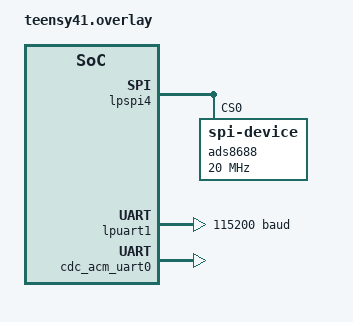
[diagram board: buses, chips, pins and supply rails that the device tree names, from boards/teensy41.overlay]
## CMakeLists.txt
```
cmake_minimum_required(VERSION 3.20.0)

find_package(Zephyr REQUIRED HINTS $ENV{ZEPHYR_BASE})
project(integrated_data_logger)

target_sources(app PRIVATE 
    src/main.c
    src/ads8688.c
)
```

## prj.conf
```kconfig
# Console/logging over UART
CONFIG_SERIAL=y
CONFIG_CONSOLE=y
CONFIG_UART_CONSOLE=y
CONFIG_PRINTK=y
CONFIG_LOG=y
CONFIG_LOG_DEFAULT_LEVEL=3

# USB CDC ACM (data)
CONFIG_USB_DEVICE_STACK=y
CONFIG_USB_DEVICE_PRODUCT="Teensy Logger"
CONFIG_USB_CDC_ACM=y
CONFIG_UART_LINE_CTRL=y

# SPI
CONFIG_SPI=y
```

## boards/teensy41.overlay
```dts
/ {
    aliases {
        spi-ads8688 = &ads8688;
        usb-data-uart = &cdc_acm_uart0;
    };

    chosen {
        zephyr,console = &lpuart1;
        zephyr,shell-uart = &lpuart1;
    };
};

/* SPI (LPSPI4) + ADS8688 */
&lpspi4 {
    status = "okay";
    pinctrl-0 = <&pinmux_lpspi4>;
    pinctrl-names = "default";

// 参考)  zephyr/dts/bindings/spi/spi-device.yaml
    /* ハードCS(PCS0)を使う想定：cs-gpiosは書かない */
    ads8688: ads8688@0 {
        compatible = "zephyr,spi-device";
        reg = <0>;
        spi-max-frequency = <20000000>;
        duplex = <0>;
        status = "okay";
        spi-interframe-delay-ns = <0>;
        frame-format = <0>;
    };
};

&lpuart1 {
    status = "okay";
    current-speed = <115200>;
};

&zephyr_udc0 {
    cdc_acm_uart0: cdc_acm_uart0 {
        compatible = "zephyr,cdc-acm-uart";
        status = "okay";
    };
};
```

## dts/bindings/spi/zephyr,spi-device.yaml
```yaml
description: Zephyr generic SPI device (project-local helper binding)
compatible: "zephyr,spi-device"
include: [spi-device.yaml]
```

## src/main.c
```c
#include <zephyr/device.h>
#include <zephyr/devicetree.h>
#include <zephyr/drivers/uart.h>
#include <zephyr/kernel.h>
#include <zephyr/sys/printk.h>
#include <zephyr/usb/usb_device.h>

#define CDC_NODE DT_ALIAS(usb_data_uart)

static void wait_for_dtr(const struct device *dev) {
  uint32_t dtr = 0;
  while (true) {
    (void)uart_line_ctrl_get(dev, UART_LINE_CTRL_DTR, &dtr);
    if (dtr) {
      break;
    }
    k_msleep(10);
  }
}

int main(void) {
  printk("[UART-LOG] boot\n");

  int ret = usb_enable(NULL);
  if (ret) {
    printk("[UART-LOG] usb_enable failed: %d\n", ret);
    return 0;
  }
  printk("[UART-LOG] USB enabled\n");

  const struct device *cdc = DEVICE_DT_GET(CDC_NODE);
  if (!device_is_ready(cdc)) {
    printk("[UART-LOG] CDC device not ready\n");
    return 0;
  }

  printk("[UART-LOG] waiting for USB DTR...\n");
  wait_for_dtr(cdc);
  printk("[UART-LOG] DTR ON\n");

  const char *hello = "[USB-DATA] hello from CDC ACM\r\n";
  int res = uart_tx(cdc, hello, strlen(hello), SYS_FOREVER_US);
  printk("[UART-LOG] uart_tx res: %d", res);

  int cnt = 0;
  while (1) {
    char buf[64];
    int n = snprintk(buf, sizeof(buf), "[USB-DATA] tick %d\r\n", cnt++);
    int res = uart_tx(cdc, buf, n, SYS_FOREVER_US);
    printk("[UART-LOG] uart_tx res: %d", res);

    printk("[UART-LOG] alive %d\n", cnt);
    k_sleep(K_SECONDS(1));
  }
}
```

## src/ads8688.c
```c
/*
 * ADS8688 8-Channel 16-bit ADC Driver Implementation
 */

#include "ads8688.h"
#include <string.h>
#include <zephyr/logging/log.h>

LOG_MODULE_REGISTER(ads8688, LOG_LEVEL_INF);

/* Full scale voltage for each range (in microvolts) */
static const int32_t range_scale_uv[] = {
    10240000, /* ±10.24V */
    5120000,  /* ±5.12V */
    2560000,  /* ±2.56V */
    1280000,  /* ±1.28V */
    640000,   /* ±0.64V */
    10240000, /* 0 to 10.24V */
    5120000,  /* 0 to 5.12V */
};

/* Manual channel select commands */
static const uint16_t man_ch_cmd[] = {
    ADS8688_CMD_MAN_CH0, ADS8688_CMD_MAN_CH1, ADS8688_CMD_MAN_CH2,
    ADS8688_CMD_MAN_CH3, ADS8688_CMD_MAN_CH4, ADS8688_CMD_MAN_CH5,
    ADS8688_CMD_MAN_CH6, ADS8688_CMD_MAN_CH7,
};

/* Write a program register */
static int ads8688_write_reg(struct ads8688_dev *dev, uint8_t reg,
                             uint8_t value) {
  /* Write command: [REG_ADDR << 1 | 1] [DATA] */
  uint8_t tx_buf[2] = {(reg << 1) | 0x01, value};

  struct spi_buf tx = {.buf = tx_buf, .len = 2};
  struct spi_buf_set tx_set = {.buffers = &tx, .count = 1};

  /* CS LOW */
  gpio_pin_set(dev->cs_gpio_dev, dev->cs_pin, 0);

  int ret = spi_write(dev->spi_dev, &dev->spi_cfg, &tx_set);

  /* CS HIGH */
  gpio_pin_set(dev->cs_gpio_dev, dev->cs_pin, 1);

  return ret;
}

/* Send command and read result */
static int ads8688_cmd_read(struct ads8688_dev *dev, uint16_t cmd,
                            uint16_t *result) {
  /* ADS8688 uses 32-bit frames:
   * TX: [CMD_HIGH] [CMD_LOW] [0x00] [0x00]
   * RX: [data_high] [data_low] [x] [x]
   * Data from PREVIOUS command is in first 16 bits
   */
  uint8_t tx_buf[4] = {(cmd >> 8) & 0xFF, cmd & 0xFF, 0x00, 0x00};
  uint8_t rx_buf[4] = {0xAA, 0xBB, 0xCC,
                       0xDD}; /* Pre-fill to detect if SPI overwrites */

  struct spi_buf tx = {.buf = tx_buf, .len = 4};
  struct spi_buf rx = {.buf = rx_buf, .len = 4};
  struct spi_buf_set tx_set = {.buffers = &tx, .count = 1};
  struct spi_buf_set rx_set = {.buffers = &rx, .count = 1};

  /* CS LOW - active */
  gpio_pin_set(dev->cs_gpio_dev, dev->cs_pin, 0);
  k_busy_wait(1); /* 1us delay after CS low */

  int ret = spi_transceive(dev->spi_dev, &dev->spi_cfg, &tx_set, &rx_set);

  k_busy_wait(1); /* 1us delay before CS high */
  /* CS HIGH - inactive */
  gpio_pin_set(dev->cs_gpio_dev, dev->cs_pin, 1);

  if (ret < 0) {
    LOG_ERR("SPI transceive failed: %d", ret);
    return ret;
  }

  /* Debug: log raw SPI data */
  static int debug_count = 0;
  if (debug_count < 20) {
    LOG_INF("SPI TX: %02X %02X %02X %02X -> RX: %02X %02X %02X %02X", tx_buf[0],
            tx_buf[1], tx_buf[2], tx_buf[3], rx_buf[0], rx_buf[1], rx_buf[2],
            rx_buf[3]);
    debug_count++;
  }

  /* Result is in bytes 0-1 (first 16 bits of SDO) */
  *result = ((uint16_t)rx_buf[0] << 8) | rx_buf[1];
  return 0;
}

int ads8688_init(struct ads8688_dev *dev, const struct device *spi_dev,
                 const struct device *cs_gpio_dev, gpio_pin_t cs_pin) {
  LOG_INF("ADS8688 init: SPI Mode 1 (CPHA=1), 500kHz, GPIO CS on pin %d",
          cs_pin);

  if (!device_is_ready(spi_dev)) {
    LOG_ERR("SPI device not ready");
    return -ENODEV;
  }

  if (!device_is_ready(cs_gpio_dev)) {
    LOG_ERR("CS GPIO device not ready");
    return -ENODEV;
  }

  /* Configure CS GPIO as output, initially high (deasserted) */
  int ret = gpio_pin_configure(cs_gpio_dev, cs_pin, GPIO_OUTPUT_HIGH);
  if (ret < 0) {
    LOG_ERR("Failed to configure CS GPIO: %d", ret);
    return ret;
  }

  memset(dev, 0, sizeof(*dev));
  dev->spi_dev = spi_dev;
  dev->cs_gpio_dev = cs_gpio_dev;
  dev->cs_pin = cs_pin;

  /* SPI configuration: Mode 1 (CPOL=0, CPHA=1), MSB first, 8-bit */
  /* ADS8688 clocks data out on falling edge, samples on rising edge */
  dev->spi_cfg.frequency = 500000; /* 500 kHz (slower for testing) */
  dev->spi_cfg.operation = SPI_WORD_SET(8) | SPI_TRANSFER_MSB | SPI_MODE_CPHA;
  dev->spi_cfg.slave = 0;
  dev->spi_cfg.cs.gpio.port = NULL; /* Use software CS control */

  /* Reset device */
  ret = ads8688_reset(dev);
  if (ret < 0) {
    LOG_ERR("Failed to reset ADS8688: %d", ret);
    return ret;
  }

  /* Set all channels to ±10.24V range */
  for (int ch = 0; ch < ADS8688_NUM_CHANNELS; ch++) {
    ret = ads8688_set_range(dev, ch, ADS8688_RANGE_PM_10V24);
    if (ret < 0) {
      LOG_ERR("Failed to set range for channel %d: %d", ch, ret);
      return ret;
    }
  }

  dev->initialized = true;
  LOG_INF("ADS8688 initialized successfully");
  return 0;
}

int ads8688_reset(struct ads8688_dev *dev) {
  uint16_t dummy;

  LOG_INF("ADS8688 reset: sending RST command (0x85)");

  /* Ensure CS is high before starting */
  gpio_pin_set(dev->cs_gpio_dev, dev->cs_pin, 1);
  k_msleep(10); /* Wait 10ms */

  int ret = ads8688_cmd_read(dev, ADS8688_CMD_RST, &dummy);
  if (ret < 0) {
    return ret;
  }

  /* Wait for reset to complete - longer delay */
  k_msleep(50);

  /* Send another NO_OP to check device response */
  ret = ads8688_cmd_read(dev, ADS8688_CMD_NO_OP, &dummy);
  LOG_INF("After reset, NO_OP response: 0x%04X", dummy);

  /* Power on all channels */
  ret = ads8688_write_reg(dev, ADS8688_REG_CH_PWR_DN, 0x00);
  if (ret < 0) {
    return ret;
  }

  return 0;
}

int ads8688_set_range(struct ads8688_dev *dev, uint8_t channel, uint8_t range) {
  if (channel >= ADS8688_NUM_CHANNELS) {
    return -EINVAL;
  }

  if (range > ADS8688_RANGE_0_5V12) {
    return -EINVAL;
  }

  uint8_t reg = ADS8688_REG_CH0_INPUT_RANGE + channel;
  int ret = ads8688_write_reg(dev, reg, range);
  if (ret < 0) {
    return ret;
  }

  dev->input_range[channel] = range;
  return 0;
}

int ads8688_read_channel(struct ads8688_dev *dev, uint8_t channel,
                         int16_t *raw_value) {
  if (channel >= ADS8688_NUM_CHANNELS) {
    return -EINVAL;
  }

  uint16_t result;

  /* First command selects the channel and starts conversion */
  int ret = ads8688_cmd_read(dev, man_ch_cmd[channel], &result);
  if (ret < 0) {
    return ret;
  }

  /* Second command reads the result */
  ret = ads8688_cmd_read(dev, ADS8688_CMD_NO_OP, &result);
  if (ret < 0) {
    return ret;
  }

  *raw_value = (int16_t)result;
  return 0;
}

int ads8688_read_all_channels(struct ads8688_dev *dev,
                              int16_t values[ADS8688_NUM_CHANNELS]) {
  uint16_t result;
  int ret;

  /* Start with channel 0 */
  ret = ads8688_cmd_read(dev, man_ch_cmd[0], &result);
  if (ret < 0) {
    return ret;
  }

  /* Read channels 0-6, while selecting next channel */
  for (int ch = 0; ch < ADS8688_NUM_CHANNELS - 1; ch++) {
    ret = ads8688_cmd_read(dev, man_ch_cmd[ch + 1], &result);
    if (ret < 0) {
      return ret;
    }
    values[ch] = (int16_t)result;
  }

  /* Read final channel 7 */
  ret = ads8688_cmd_read(dev, ADS8688_CMD_NO_OP, &result);
  if (ret < 0) {
    return ret;
  }
  values[7] = (int16_t)result;

  return 0;
}

int32_t ads8688_to_mv(int16_t raw_value, uint8_t range) {
  if (range > ADS8688_RANGE_0_5V12) {
    range = ADS8688_RANGE_PM_10V24;
  }

  /* For bipolar ranges: voltage = raw * full_scale / 32768 */
  /* Result in millivolts */
  int64_t uv = ((int64_t)raw_value * range_scale_uv[range]) / 32768;
  return (int32_t)(uv / 1000);
}

float ads8688_to_volts(int16_t raw_value, uint8_t range) {
  if (range > ADS8688_RANGE_0_5V12) {
    range = ADS8688_RANGE_PM_10V24;
  }

  float full_scale = (float)range_scale_uv[range] / 1000000.0f;
  return ((float)raw_value / 32768.0f) * full_scale;
}
```

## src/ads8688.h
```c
/*
 * ADS8688 8-Channel 16-bit ADC Driver
 * SPI Interface for Texas Instruments ADS8688
 *
 * Features:
 *   - 8 channels, 16-bit resolution
 *   - ±10.24V, ±5.12V, ±2.56V input ranges
 *   - Up to 500kSPS (we use 10kHz per channel = 80kSPS total)
 */

#ifndef ADS8688_H
#define ADS8688_H

#include <zephyr/drivers/gpio.h>
#include <zephyr/drivers/spi.h>
#include <zephyr/kernel.h>

/* ADS8688 Command Registers (Program Register) */
#define ADS8688_CMD_NO_OP 0x0000
#define ADS8688_CMD_STDBY 0x8200
#define ADS8688_CMD_PWR_DN 0x8300
#define ADS8688_CMD_RST 0x8500
#define ADS8688_CMD_AUTO_RST 0xA000
#define ADS8688_CMD_MAN_CH0 0xC000
#define ADS8688_CMD_MAN_CH1 0xC400
#define ADS8688_CMD_MAN_CH2 0xC800
#define ADS8688_CMD_MAN_CH3 0xCC00
#define ADS8688_CMD_MAN_CH4 0xD000
#define ADS8688_CMD_MAN_CH5 0xD400
#define ADS8688_CMD_MAN_CH6 0xD800
#define ADS8688_CMD_MAN_CH7 0xDC00

/* ADS8688 Program Registers */
#define ADS8688_REG_AUTO_SEQ_EN 0x01
#define ADS8688_REG_CH_PWR_DN 0x02
#define ADS8688_REG_FEATURE_SEL 0x03
#define ADS8688_REG_CH0_INPUT_RANGE 0x05
#define ADS8688_REG_CH1_INPUT_RANGE 0x06
#define ADS8688_REG_CH2_INPUT_RANGE 0x07
#define ADS8688_REG_CH3_INPUT_RANGE 0x08
#define ADS8688_REG_CH4_INPUT_RANGE 0x09
#define ADS8688_REG_CH5_INPUT_RANGE 0x0A
#define ADS8688_REG_CH6_INPUT_RANGE 0x0B
#define ADS8688_REG_CH7_INPUT_RANGE 0x0C

/* Input Range Settings */
#define ADS8688_RANGE_PM_10V24 0x00 /* ±10.24V (default) */
#define ADS8688_RANGE_PM_5V12 0x01  /* ±5.12V */
#define ADS8688_RANGE_PM_2V56 0x02  /* ±2.56V */
#define ADS8688_RANGE_PM_1V28 0x03  /* ±1.28V */
#define ADS8688_RANGE_PM_0V64 0x04  /* ±0.64V */
#define ADS8688_RANGE_0_10V24 0x05  /* 0 to 10.24V */
#define ADS8688_RANGE_0_5V12 0x06   /* 0 to 5.12V */

/* Number of channels */
#define ADS8688_NUM_CHANNELS 8

/* ADS8688 driver context */
struct ads8688_dev {
  const struct device *spi_dev;
  struct spi_config spi_cfg;
  const struct device *cs_gpio_dev;
  gpio_pin_t cs_pin;
  uint8_t input_range[ADS8688_NUM_CHANNELS];
  bool initialized;
};

/**
 * Initialize ADS8688 device
 */
int ads8688_init(struct ads8688_dev *dev, const struct device *spi_dev,
                 const struct device *cs_gpio_dev, gpio_pin_t cs_pin);

/**
 * Reset ADS8688 to default state
 */
int ads8688_reset(struct ads8688_dev *dev);

/**
 * Set input range for a channel
 */
int ads8688_set_range(struct ads8688_dev *dev, uint8_t channel, uint8_t range);

/**
 * Read a single channel (manual mode)
 */
int ads8688_read_channel(struct ads8688_dev *dev, uint8_t channel,
                         int16_t *raw_value);

/**
 * Read all 8 channels sequentially
 */
int ads8688_read_all_channels(struct ads8688_dev *dev,
                              int16_t values[ADS8688_NUM_CHANNELS]);

/**
 * Convert raw ADC value to voltage (millivolts)
 */
int32_t ads8688_to_mv(int16_t raw_value, uint8_t range);

/**
 * Convert raw ADC value to voltage (float, volts)
 */
float ads8688_to_volts(int16_t raw_value, uint8_t range);

#endif /* ADS8688_H */
```
